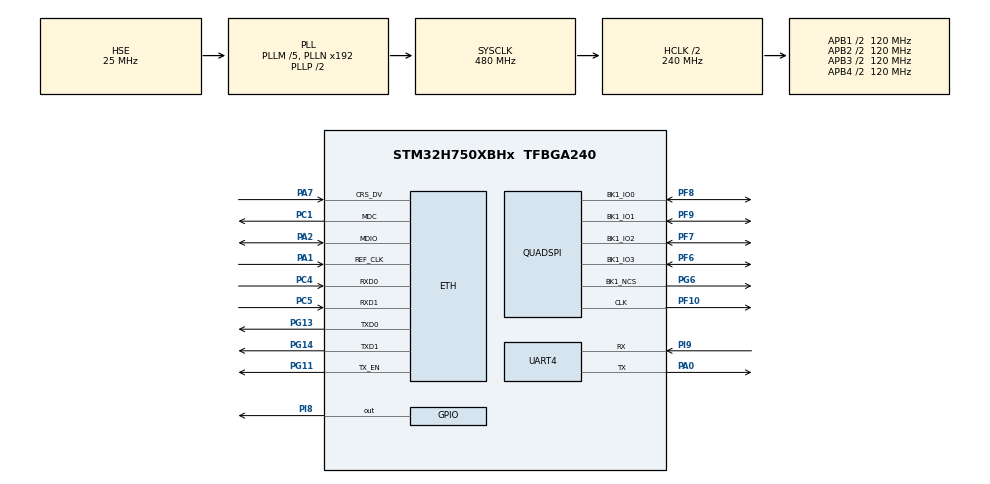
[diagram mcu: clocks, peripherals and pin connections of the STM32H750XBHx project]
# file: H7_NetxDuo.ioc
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CORTEX_M7.MPU_Control=__NULL
CORTEX_M7.default_mode_Activation=1
ETH.MACAddr=A0\:B0\:C0\:D0\:E0\:F0
ETH.MediaInterface=HAL_ETH_RMII_MODE
Mcu.Family=STM32H7
Mcu.Name=STM32H750XBHx
Mcu.Package=TFBGA240
NVIC.ETH_IRQn=true\:0\:0\:false\:false\:true\:false\:true\:true\:true
NVIC.PriorityGroup=NVIC_PRIORITYGROUP_4
NVIC.TIM1_UP_IRQn=true\:15\:0\:false\:false\:true\:false\:false\:true\:true
NVIC.TimeBase=TIM1_UP_IRQn
NVIC.TimeBaseIP=TIM1
PA0.Mode=Asynchronous
PA0.Signal=UART4_TX
PA1.Mode=RMII
PA1.Signal=ETH_REF_CLK
PA13\ (JTMS/SWDIO).Mode=Serial_Wire
PA13\ (JTMS/SWDIO).Signal=DEBUG_JTMS-SWDIO
PA14\ (JTCK/SWCLK).Mode=Serial_Wire
PA14\ (JTCK/SWCLK).Signal=DEBUG_JTCK-SWCLK
PA2.Mode=RMII
PA2.Signal=ETH_MDIO
PA7.Mode=RMII
PA7.Signal=ETH_CRS_DV
PC1.Mode=RMII
PC1.Signal=ETH_MDC
PC4.Mode=RMII
PC4.Signal=ETH_RXD0
PC5.Mode=RMII
PC5.Signal=ETH_RXD1
PF10.GPIO_Speed=GPIO_SPEED_FREQ_VERY_HIGH
PF10.Mode=Single Bank 1
PF10.Signal=QUADSPI_CLK
PF6.GPIO_Speed=GPIO_SPEED_FREQ_VERY_HIGH
PF6.Mode=Single Bank 1
PF6.Signal=QUADSPI_BK1_IO3
PF7.GPIO_Speed=GPIO_SPEED_FREQ_VERY_HIGH
PF7.Mode=Single Bank 1
PF7.Signal=QUADSPI_BK1_IO2
PF8.GPIO_Speed=GPIO_SPEED_FREQ_VERY_HIGH
PF8.Mode=Single Bank 1
PF8.Signal=QUADSPI_BK1_IO0
PF9.GPIO_Speed=GPIO_SPEED_FREQ_VERY_HIGH
PF9.Mode=Single Bank 1
PF9.Signal=QUADSPI_BK1_IO1
PG11.Mode=RMII
PG11.Signal=ETH_TX_EN
PG13.Mode=RMII
PG13.Signal=ETH_TXD0
PG14.Mode=RMII
PG14.Signal=ETH_TXD1
PG6.GPIO_Speed=GPIO_SPEED_FREQ_VERY_HIGH
PG6.Mode=Single Bank 1
PG6.Signal=QUADSPI_BK1_NCS
PH0-OSC_IN\ (PH0).Mode=HSE-External-Oscillator
PH0-OSC_IN\ (PH0).Signal=RCC_OSC_IN
PH1-OSC_OUT\ (PH1).Mode=HSE-External-Oscillator
PH1-OSC_OUT\ (PH1).Signal=RCC_OSC_OUT
PI8.Signal=GPIO_Output
PI9.Mode=Asynchronous
PI9.Signal=UART4_RX
ProjectManager.HeapSize=0x400
ProjectManager.StackSize=0x400
ProjectManager.TargetToolchain=STM32CubeIDE
QUADSPI.ChipSelectHighTime=QSPI_CS_HIGH_TIME_5_CYCLE
QUADSPI.ClockPrescaler=1
QUADSPI.FifoThreshold=4
QUADSPI.FlashSize=22
QUADSPI.SampleShifting=QSPI_SAMPLE_SHIFTING_HALFCYCLE
RCC.ADCFreq_Value=200000000
RCC.APB1Freq_Value=120000000
RCC.APB2Freq_Value=120000000
RCC.APB3Freq_Value=120000000
RCC.APB4Freq_Value=120000000
RCC.CortexFreq_Value=480000000
RCC.D1PPRE=RCC_APB3_DIV2
RCC.D2PPRE1=RCC_APB1_DIV2
RCC.D2PPRE2=RCC_APB2_DIV2
RCC.D3PPRE=RCC_APB4_DIV2
RCC.DIVM1=5
RCC.DIVM2=25
RCC.DIVM3=25
RCC.DIVN1=192
RCC.DIVN2=400
RCC.DIVN3=480
RCC.HCLKFreq_Value=240000000
RCC.HPRE=RCC_HCLK_DIV2
RCC.HSE_Timout=1000
RCC.PLLSourceVirtual=RCC_PLLSOURCE_HSE
RCC.SYSCLKFreq_VALUE=480000000
RCC.SYSCLKSource=RCC_SYSCLKSOURCE_PLLCLK
RCC.USBFreq_Value=480000000
STMicroelectronics.X-CUBE-AZRTOS-H7.2.1.0.InterfacesCcNetworkJjEthernetOoInterface=true
STMicroelectronics.X-CUBE-AZRTOS-H7.2.1.0.InterfacesCcNetworkJjEthernetOoPhyOoInterface=LAN8742IiPhyIiInterface
STMicroelectronics.X-CUBE-AZRTOS-H7.2.1.0.NX_APP_MEM_POOL_SIZE=4096
STMicroelectronics.X-CUBE-AZRTOS-H7.2.1.0.NetXDuoCcNetworkJjNetXDuoJjAddonsOoAutoIP=true
STMicroelectronics.X-CUBE-AZRTOS-H7.2.1.0.NetXDuoCcNetworkJjNetXDuoJjNXOoCore=true
STMicroelectronics.X-CUBE-AZRTOS-H7.2.1.0.NetXDuoCcNetworkJjNetXDuoJjTraceXOoSupport=true
STMicroelectronics.X-CUBE-AZRTOS-H7.2.1.0.STM32CubeIiBSPIiComponentsCcBoardOoPartJjETHPhyJjLAN8742=true
STMicroelectronics.X-CUBE-AZRTOS-H7.2.1.0.TX_APP_MEM_POOL_SIZE=4096
STMicroelectronics.X-CUBE-AZRTOS-H7.2.1.0.TX_TIMER_TICKS_PER_SECOND=1000
STMicroelectronics.X-CUBE-AZRTOS-H7.2.1.0.ThreadXCcRTOSJjThreadXJjCore=true
STMicroelectronics.X-CUBE-AZRTOS-H7.2.1.0.ThreadXCcRTOSJjThreadXJjPerformanceInfo=true
STMicroelectronics.X-CUBE-AZRTOS-H7.2.1.0.ThreadXCcRTOSJjThreadXJjTraceXOosupport=true
STMicroelectronics.X-CUBE-AZRTOS-H7.2.1.0_IsAnAzureRtosMw=true
VP_STMicroelectronics.X-CUBE-AZRTOS-H7_VS_BoardOoPartJjSTM32CubeIiBSPIiComponents_1.1.0_2.1.0.Mode=BoardOoPartJjSTM32CubeIiBSPIiComponents
VP_STMicroelectronics.X-CUBE-AZRTOS-H7_VS_NetworkJjInterfaces_2.1.0_2.1.0.Mode=NetworkJjInterfaces
VP_STMicroelectronics.X-CUBE-AZRTOS-H7_VS_NetworkJjNetXDuo_6.1.10_2.1.0.Mode=NetworkJjNetXDuo
VP_STMicroelectronics.X-CUBE-AZRTOS-H7_VS_RTOSJjThreadX_6.1.10_2.1.0.Mode=RTOSJjThreadX
VP_SYS_VS_tim1.Mode=TIM1
board=custom

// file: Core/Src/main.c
/* USER CODE BEGIN Header */
/**
  ******************************************************************************
  * @file           : main.c
  * @brief          : Main program body
  ******************************************************************************
  * @attention
  *
  * Copyright (c) 2022 STMicroelectronics.
  * All rights reserved.
  *
  * This software is licensed under terms that can be found in the LICENSE file
  * in the root directory of this software component.
  * If no LICENSE file comes with this software, it is provided AS-IS.
  *
  ******************************************************************************
  */
/* USER CODE END Header */
#include "main.h"
#include "app_threadx.h"
#include "eth.h"
#include "quadspi.h"
#include "usart.h"
#include "gpio.h"

/* USER CODE BEGIN Includes */
#include <stdio.h>
#include "w25qxx.h"
/* USER CODE END Includes */

void SystemClock_Config(void);

/* USER CODE BEGIN 0 */
static void printf_logo(void)
{
  printf("                                                                 \r\n");
  printf("       _   __       __  _  __    ____   ____   ____  ______      \r\n");
  printf("      / | / /___   / /_| |/ /   / __ ) / __ \\ / __ \\/_  __/    \r\n");
  printf("     /  |/ // _ \\ / __/|   /   / __  |/ / / // / / / / /        \r\n");
  printf("    / /|  //  __// /_ /   |   / /_/ // /_/ // /_/ / / /          \r\n");
  printf("   /_/ |_/ \\___/ \\__//_/|_|  /_____/ \\____/ \\____/ /_/       \r\n");
  printf("                                                                 \r\n");
  printf("                This is NetxDuo BootLoader                       \r\n");
  printf("                                                                 \r\n");
}
/* USER CODE END 0 */

int main(void)
{

  /* MCU Configuration--------------------------------------------------------*/

  /* Reset of all peripherals, Initializes the Flash interface and the Systick. */
  HAL_Init();

  /* Configure the system clock */
  SystemClock_Config();

  /* Initialize all configured peripherals */
  MX_GPIO_Init();
  MX_UART4_Init();
  MX_ETH_Init();
  MX_QUADSPI_Init();
  /* USER CODE BEGIN 2 */
  W25QXX_ExitQPIMode();
  W25QXX_Reset();
  /* print bootloader logo infomation */
  printf_logo();
  /* USER CODE END 2 */

  MX_ThreadX_Init();

  /* We should never get here as control is now taken by the scheduler */
  /* Infinite loop */
  while (1)
  {

  }
}

void SystemClock_Config(void)
{
  RCC_OscInitTypeDef RCC_OscInitStruct = {0};
  RCC_ClkInitTypeDef RCC_ClkInitStruct = {0};

  /** Supply configuration update enable
  */
  HAL_PWREx_ConfigSupply(PWR_LDO_SUPPLY);

  /** Configure the main internal regulator output voltage
  */
  __HAL_PWR_VOLTAGESCALING_CONFIG(PWR_REGULATOR_VOLTAGE_SCALE1);

  while(!__HAL_PWR_GET_FLAG(PWR_FLAG_VOSRDY)) {}

  __HAL_RCC_SYSCFG_CLK_ENABLE();
  __HAL_PWR_VOLTAGESCALING_CONFIG(PWR_REGULATOR_VOLTAGE_SCALE0);

  while(!__HAL_PWR_GET_FLAG(PWR_FLAG_VOSRDY)) {}

  /** Initializes the RCC Oscillators according to the specified parameters
  * in the RCC_OscInitTypeDef structure.
  */
  RCC_OscInitStruct.OscillatorType = RCC_OSCILLATORTYPE_HSE;
  RCC_OscInitStruct.HSEState = RCC_HSE_ON;
  RCC_OscInitStruct.PLL.PLLState = RCC_PLL_ON;
  RCC_OscInitStruct.PLL.PLLSource = RCC_PLLSOURCE_HSE;
  RCC_OscInitStruct.PLL.PLLM = 5;
  RCC_OscInitStruct.PLL.PLLN = 192;
  RCC_OscInitStruct.PLL.PLLP = 2;
  RCC_OscInitStruct.PLL.PLLQ = 2;
  RCC_OscInitStruct.PLL.PLLR = 2;
  RCC_OscInitStruct.PLL.PLLRGE = RCC_PLL1VCIRANGE_2;
  RCC_OscInitStruct.PLL.PLLVCOSEL = RCC_PLL1VCOWIDE;
  RCC_OscInitStruct.PLL.PLLFRACN = 0;
  if (HAL_RCC_OscConfig(&RCC_OscInitStruct) != HAL_OK)
  {
    Error_Handler();
  }

  /** Initializes the CPU, AHB and APB buses clocks
  */
  RCC_ClkInitStruct.ClockType = RCC_CLOCKTYPE_HCLK|RCC_CLOCKTYPE_SYSCLK
                              |RCC_CLOCKTYPE_PCLK1|RCC_CLOCKTYPE_PCLK2
                              |RCC_CLOCKTYPE_D3PCLK1|RCC_CLOCKTYPE_D1PCLK1;
  RCC_ClkInitStruct.SYSCLKSource = RCC_SYSCLKSOURCE_PLLCLK;
  RCC_ClkInitStruct.SYSCLKDivider = RCC_SYSCLK_DIV1;
  RCC_ClkInitStruct.AHBCLKDivider = RCC_HCLK_DIV2;
  RCC_ClkInitStruct.APB3CLKDivider = RCC_APB3_DIV2;
  RCC_ClkInitStruct.APB1CLKDivider = RCC_APB1_DIV2;
  RCC_ClkInitStruct.APB2CLKDivider = RCC_APB2_DIV2;
  RCC_ClkInitStruct.APB4CLKDivider = RCC_APB4_DIV2;

  if (HAL_RCC_ClockConfig(&RCC_ClkInitStruct, FLASH_LATENCY_4) != HAL_OK)
  {
    Error_Handler();
  }
}

void HAL_TIM_PeriodElapsedCallback(TIM_HandleTypeDef *htim)
{
  if (htim->Instance == TIM1) {
    HAL_IncTick();
  }
}

void Error_Handler(void)
{
  /* USER CODE BEGIN Error_Handler_Debug */
  printf("[%s]:[%s] Has Some Error!\r\n", __FILE__, __FUNCTION__);
  /* User can add his own implementation to report the HAL error return state */
  __disable_irq();
  while (1)
  {
  }
  /* USER CODE END Error_Handler_Debug */
}

#ifdef  USE_FULL_ASSERT
/**
  * @brief  Reports the name of the source file and the source line number
  *         where the assert_param error has occurred.
  * @param  file: pointer to the source file name
  * @param  line: assert_param error line source number
  * @retval None
  */
void assert_failed(uint8_t *file, uint32_t line)
{
  /* USER CODE BEGIN 6 */
  /* User can add his own implementation to report the file name and line number,
     ex: printf("Wrong parameters value: file %s on line %d\r\n", file, line) */
	printf("[%s]:[%s] Has Assert Failed!\r\n", __FILE__, __FUNCTION__);
  /* USER CODE END 6 */
}
#endif /* USE_FULL_ASSERT */
